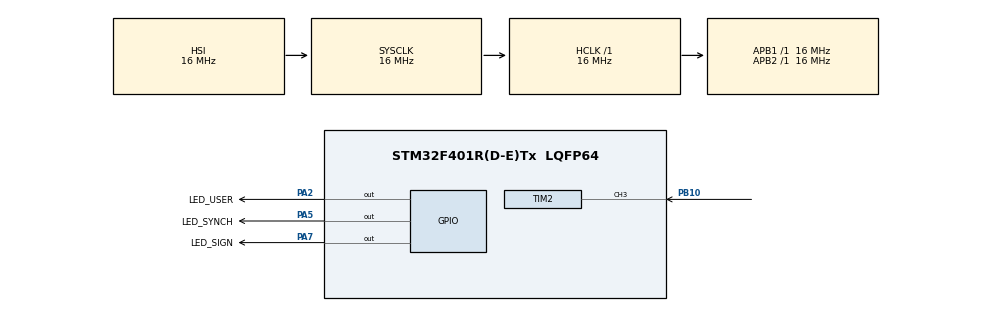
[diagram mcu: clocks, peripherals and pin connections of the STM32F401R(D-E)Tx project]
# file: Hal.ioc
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Mcu.Family=STM32F4
Mcu.Name=STM32F401R(D-E)Tx
Mcu.Package=LQFP64
NVIC.PriorityGroup=NVIC_PRIORITYGROUP_4
NVIC.TIM2_IRQn=true\:0\:0\:false\:false\:true\:true\:true\:true
PA13.Mode=Trace_Asynchronous_SW
PA13.Signal=SYS_JTMS-SWDIO
PA14.Mode=Trace_Asynchronous_SW
PA14.Signal=SYS_JTCK-SWCLK
PA2.GPIO_Label=LED_USER
PA2.Signal=GPIO_Output
PA5.GPIO_Label=LED_SYNCH
PA5.Signal=GPIO_Output
PA7.GPIO_Label=LED_SIGN
PA7.Signal=GPIO_Output
PB10.Signal=S_TIM2_CH3
PB3.Mode=Trace_Asynchronous_SW
PB3.Signal=SYS_JTDO-SWO
ProjectManager.HeapSize=0x200
ProjectManager.StackSize=0x400
ProjectManager.TargetToolchain=STM32CubeIDE
RCC.48MHZClocksFreq_Value=84000000
RCC.AHBFreq_Value=16000000
RCC.APB1Freq_Value=16000000
RCC.APB1TimFreq_Value=16000000
RCC.APB2Freq_Value=16000000
RCC.APB2TimFreq_Value=16000000
RCC.CortexFreq_Value=16000000
RCC.HCLKFreq_Value=16000000
RCC.HSE_VALUE=8000000
RCC.HSI_VALUE=16000000
RCC.LSE_VALUE=32768
RCC.PLLM=4
RCC.PLLN=84
RCC.SYSCLKFreq_VALUE=16000000
RCC.VCOOutputFreq_Value=336000000
SH.S_TIM2_CH3.0=TIM2_CH3,Input_Capture3_from_TI3
TIM2.Channel-Input_Capture3_from_TI3=TIM_CHANNEL_3
TIM2.Prescaler=16-1
TIM3.AutoReloadPreload=TIM_AUTORELOAD_PRELOAD_DISABLE
TIM3.Period=50-1
TIM3.Prescaler=16-1
VP_TIM2_VS_ClockSourceINT.Mode=Internal
VP_TIM3_VS_ClockSourceINT.Mode=Internal
board=custom

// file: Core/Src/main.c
/* USER CODE BEGIN Header */
/**
  ******************************************************************************
  * @file           : main.c
  * @brief          : Main program body
  ******************************************************************************
  * @attention
  *
  * Copyright (c) 2024 STMicroelectronics.
  * All rights reserved.
  *
  * This software is licensed under terms that can be found in the LICENSE file
  * in the root directory of this software component.
  * If no LICENSE file comes with this software, it is provided AS-IS.
  *
  ******************************************************************************
  */
/* USER CODE END Header */
#include "main.h"

TIM_HandleTypeDef htim2;
TIM_HandleTypeDef htim3;

void SystemClock_Config(void);
static void MX_GPIO_Init(void);
static void MX_TIM3_Init(void);
static void MX_TIM2_Init(void);
/* USER CODE BEGIN PFP */
#define TIMCLOCK 	16000000.0f
#define PRESCALER	16.0f
#define REFCLOCK 	(TIMCLOCK/PRESCALER)

uint32_t IC_Val1 = 0;
uint32_t IC_Val2 = 0;
uint32_t Difference = 0;
uint8_t Is_First_Captured= 0;
float frequency = 0.0;

void HAL_TIM_IC_CaptureCallback(TIM_HandleTypeDef *htim)
{
	if(htim -> Channel == HAL_TIM_ACTIVE_CHANNEL_3)
	{

		if(Is_First_Captured == 0)
		{
			HAL_GPIO_WritePin(LED_SYNCH_GPIO_Port, LED_SYNCH_Pin, GPIO_PIN_SET);
			IC_Val1 = TIM2 -> CCR3;//HAL_TIM_ReadCapturedValue(htim, TIM_CHANNEL_3);
			Is_First_Captured = 1;
		}
		else
		{
			HAL_GPIO_WritePin(LED_SYNCH_GPIO_Port, LED_SYNCH_Pin, GPIO_PIN_RESET);
			IC_Val2 = TIM2 -> CCR3;

			if(IC_Val2 > IC_Val1)
			{
				Difference = IC_Val2 - IC_Val1;
			}
			else
			{
				Difference = (TIM2->ARR - IC_Val1) + IC_Val2;
			}

			frequency = (float)((TIMCLOCK/(TIM2->PSC + 1))/Difference);
			//__HAL_TIM_SET_COUNTER(htim, 0);
			TIM2 -> CNT = 0;
			Is_First_Captured = 0;
		}
	}
}

void tim2_ch3_config_ia(void);

void timer2_count_config(void);
void timer2_ch3_input_capture_config(void);
void timer2_count_start(void);
void timer2_ch3_gpio_config(void);
void timer2_ch3_input_capture_start(void);

/* USER CODE END PFP */

int main(void)
{

  /* MCU Configuration--------------------------------------------------------*/

  /* Reset of all peripherals, Initializes the Flash interface and the Systick. */
  HAL_Init();

  /* Configure the system clock */
  SystemClock_Config();

  /* Initialize all configured peripherals */
  MX_GPIO_Init();
  MX_TIM3_Init();
  MX_TIM2_Init();
  /* USER CODE BEGIN 2 */
  TIM3 -> CR1 |= TIM_CR1_CEN;

  //timer2_ch3_gpio_config();
  /*timer2_count_config(); //Configuramos tim2 counter
  timer2_ch3_input_capture_config(); //Configuramos tim2 input capture
  timer2_count_start(); //Comenzamos la cuenta en tim2
  timer2_ch3_input_capture_start();*/
  //tim2_ch3_config_ia();
  HAL_TIM_IC_Start_IT(&htim2, TIM_CHANNEL_3);
  /* USER CODE END 2 */

  /* Infinite loop */
  /* USER CODE BEGIN WHILE */
  while (1)
  {
	if(TIM3->SR & TIM_SR_UIF)
	{
		TIM3->SR &= ~TIM_SR_UIF;
		HAL_GPIO_TogglePin(LED_SIGN_GPIO_Port, LED_SIGN_Pin);
	}
    /* USER CODE END WHILE */

  }
}

void SystemClock_Config(void)
{
  RCC_OscInitTypeDef RCC_OscInitStruct = {0};
  RCC_ClkInitTypeDef RCC_ClkInitStruct = {0};

  /** Configure the main internal regulator output voltage
  */
  __HAL_RCC_PWR_CLK_ENABLE();
  __HAL_PWR_VOLTAGESCALING_CONFIG(PWR_REGULATOR_VOLTAGE_SCALE2);

  /** Initializes the RCC Oscillators according to the specified parameters
  * in the RCC_OscInitTypeDef structure.
  */
  RCC_OscInitStruct.OscillatorType = RCC_OSCILLATORTYPE_HSI;
  RCC_OscInitStruct.HSIState = RCC_HSI_ON;
  RCC_OscInitStruct.HSICalibrationValue = RCC_HSICALIBRATION_DEFAULT;
  RCC_OscInitStruct.PLL.PLLState = RCC_PLL_NONE;
  if (HAL_RCC_OscConfig(&RCC_OscInitStruct) != HAL_OK)
  {
    Error_Handler();
  }

  /** Initializes the CPU, AHB and APB buses clocks
  */
  RCC_ClkInitStruct.ClockType = RCC_CLOCKTYPE_HCLK|RCC_CLOCKTYPE_SYSCLK
                              |RCC_CLOCKTYPE_PCLK1|RCC_CLOCKTYPE_PCLK2;
  RCC_ClkInitStruct.SYSCLKSource = RCC_SYSCLKSOURCE_HSI;
  RCC_ClkInitStruct.AHBCLKDivider = RCC_SYSCLK_DIV1;
  RCC_ClkInitStruct.APB1CLKDivider = RCC_HCLK_DIV1;
  RCC_ClkInitStruct.APB2CLKDivider = RCC_HCLK_DIV1;

  if (HAL_RCC_ClockConfig(&RCC_ClkInitStruct, FLASH_LATENCY_0) != HAL_OK)
  {
    Error_Handler();
  }
}

static void MX_TIM2_Init(void)
{

  TIM_ClockConfigTypeDef sClockSourceConfig = {0};
  TIM_MasterConfigTypeDef sMasterConfig = {0};
  TIM_IC_InitTypeDef sConfigIC = {0};

  htim2.Instance = TIM2;
  htim2.Init.Prescaler = 16-1;
  htim2.Init.CounterMode = TIM_COUNTERMODE_UP;
  htim2.Init.Period = 4294967295;
  htim2.Init.ClockDivision = TIM_CLOCKDIVISION_DIV1;
  htim2.Init.AutoReloadPreload = TIM_AUTORELOAD_PRELOAD_DISABLE;
  if (HAL_TIM_Base_Init(&htim2) != HAL_OK)
  {
    Error_Handler();
  }
  sClockSourceConfig.ClockSource = TIM_CLOCKSOURCE_INTERNAL;
  if (HAL_TIM_ConfigClockSource(&htim2, &sClockSourceConfig) != HAL_OK)
  {
    Error_Handler();
  }
  if (HAL_TIM_IC_Init(&htim2) != HAL_OK)
  {
    Error_Handler();
  }
  sMasterConfig.MasterOutputTrigger = TIM_TRGO_RESET;
  sMasterConfig.MasterSlaveMode = TIM_MASTERSLAVEMODE_DISABLE;
  if (HAL_TIMEx_MasterConfigSynchronization(&htim2, &sMasterConfig) != HAL_OK)
  {
    Error_Handler();
  }
  sConfigIC.ICPolarity = TIM_INPUTCHANNELPOLARITY_RISING;
  sConfigIC.ICSelection = TIM_ICSELECTION_DIRECTTI;
  sConfigIC.ICPrescaler = TIM_ICPSC_DIV1;
  sConfigIC.ICFilter = 0;
  if (HAL_TIM_IC_ConfigChannel(&htim2, &sConfigIC, TIM_CHANNEL_3) != HAL_OK)
  {
    Error_Handler();
  }

}

static void MX_TIM3_Init(void)
{

  TIM_ClockConfigTypeDef sClockSourceConfig = {0};
  TIM_MasterConfigTypeDef sMasterConfig = {0};

  htim3.Instance = TIM3;
  htim3.Init.Prescaler = 16-1;
  htim3.Init.CounterMode = TIM_COUNTERMODE_UP;
  htim3.Init.Period = 50-1;
  htim3.Init.ClockDivision = TIM_CLOCKDIVISION_DIV1;
  htim3.Init.AutoReloadPreload = TIM_AUTORELOAD_PRELOAD_DISABLE;
  if (HAL_TIM_Base_Init(&htim3) != HAL_OK)
  {
    Error_Handler();
  }
  sClockSourceConfig.ClockSource = TIM_CLOCKSOURCE_INTERNAL;
  if (HAL_TIM_ConfigClockSource(&htim3, &sClockSourceConfig) != HAL_OK)
  {
    Error_Handler();
  }
  sMasterConfig.MasterOutputTrigger = TIM_TRGO_RESET;
  sMasterConfig.MasterSlaveMode = TIM_MASTERSLAVEMODE_DISABLE;
  if (HAL_TIMEx_MasterConfigSynchronization(&htim3, &sMasterConfig) != HAL_OK)
  {
    Error_Handler();
  }

}

static void MX_GPIO_Init(void)
{
  GPIO_InitTypeDef GPIO_InitStruct = {0};

  /* GPIO Ports Clock Enable */
  __HAL_RCC_GPIOA_CLK_ENABLE();
  __HAL_RCC_GPIOB_CLK_ENABLE();

  /*Configure GPIO pin Output Level */
  HAL_GPIO_WritePin(GPIOA, LED_USER_Pin|LED_SYNCH_Pin|LED_SIGN_Pin, GPIO_PIN_RESET);

  /*Configure GPIO pins : LED_USER_Pin LED_SYNCH_Pin LED_SIGN_Pin */
  GPIO_InitStruct.Pin = LED_USER_Pin|LED_SYNCH_Pin|LED_SIGN_Pin;
  GPIO_InitStruct.Mode = GPIO_MODE_OUTPUT_PP;
  GPIO_InitStruct.Pull = GPIO_NOPULL;
  GPIO_InitStruct.Speed = GPIO_SPEED_FREQ_LOW;
  HAL_GPIO_Init(GPIOA, &GPIO_InitStruct);

}

/* USER CODE BEGIN 4 */
void tim2_ch3_config_ia(void)
{
    // 1. Habilitar reloj a TIM2
    RCC->APB1ENR |= RCC_APB1ENR_TIM2EN;

    // 2. Detener el contador antes de configurar
    TIM2->CR1 &= ~TIM_CR1_CEN;

    // 3. Configurar prescaler: 16 MHz / 16 = 1 MHz
    TIM2->PSC = 16 - 1;

    // 4. Auto-reload: máximo para contar periodos largos
    TIM2->ARR = 0xFFFFFFFF;

    // 5. Reiniciar contador
    TIM2->CNT = 0;

    // 6. Configurar canal 3 en modo Input Capture
    // CC3S = 01: TI3 input
    TIM2->CCMR2 &= ~TIM_CCMR2_CC3S_Msk;
    TIM2->CCMR2 |= (0b01 << TIM_CCMR2_CC3S_Pos);

    // 7. Prescaler de entrada: ninguno (IC3PSC = 00)
    TIM2->CCMR2 &= ~TIM_CCMR2_IC3PSC_Msk;

    // 8. Filtro digital: opcional, aquí desactivado (IC3F = 0000)
    TIM2->CCMR2 &= ~TIM_CCMR2_IC3F_Msk;

    // 9. Flanco de captura: ascendente (CC3P = 0, CC3NP = 0)
    TIM2->CCER &= ~(TIM_CCER_CC3P | TIM_CCER_CC3NP);

    // 10. Habilitar captura en el canal 3 (CC3E = 1)
    TIM2->CCER |= TIM_CCER_CC3E;

    // 11. Habilitar interrupción para canal 3
    TIM2->DIER |= TIM_DIER_CC3IE;

    // 12. Habilitar interrupción TIM2 en NVIC
    //NVIC_EnableIRQ(TIM2_IRQn);

    // 13. Habilitar el timer
    //TIM2->CR1 |= TIM_CR1_CEN;
}

void timer2_count_config(void)
{
	/*Activamos RCC del TIM2*/
	RCC->APB1ENR |= RCC_APB1ENR_TIM2EN;
	TIM2->CR1 &= ~TIM_CR1_CEN; //Deshabilitamos conteo
	/*Calculo del prescaler*/
	TIM2->PSC = 16-1;
	/*Calculo del auto-reload*/
	TIM2->ARR = 0xFFFFFFFF;
	return;
}
void timer2_ch3_input_capture_config(void)
{
	/*Deshabilitar captura antes de configurar*/
	TIM2 -> CCER &= ~TIM_CCER_CC3E_Msk;
	/*Deshabilitar interrupción*/
	TIM2 -> DIER &= ~TIM_DIER_CC3IE;
	/*Enlazar registro CCR a TI3*/
	TIM2 -> CCMR2 &= ~TIM_CCMR2_CC3S_Msk;
	TIM2 -> CCMR2 |= (0b01<<TIM_CCMR2_CC3S_Pos); //Enlazado al TI3
	/*Programar filtro*/
	TIM2 -> CCMR2 &= ~TIM_CCMR2_IC3F_Msk; //Limpiamos
	//TIM2 -> CCMR2 |= (0b0011<<TIM_CCMR2_IC3F_Pos); //Sampling 8
	/*Flanco de detección*/
	TIM2 -> CCER  &= ~(TIM_CCER_CC3P | TIM_CCER_CC3NP); //rising edge
	/*Prescaler*/
	TIM2 -> CCMR2 &= ~TIM_CCMR2_IC3PSC_Msk; //No prescaler
	return;
}
void timer2_count_start(void)
{
	TIM2->CNT = 0;
	/*Habilitar conteo */
	TIM2 -> CR1 |= TIM_CR1_CEN; //TIM2 conteo EN
	return;
}

void timer2_ch3_gpio_config(void)
{
	/*Pin Config TIM2_CH3 PB10*/
	RCC -> AHB1ENR |= RCC_AHB1ENR_GPIOBEN; //RCC
	/*Mode AF*/
	GPIOB -> MODER &= ~GPIO_MODER_MODE10_Msk; //Modo AF
	GPIOB -> MODER |= GPIO_MODER_MODE10_1;
	/*Pull up down*/
	GPIOB -> PUPDR &= ~GPIO_PUPDR_PUPD10_Msk; //No pull up/down
	/*Alternative*/
	GPIOB -> AFR[1] &= ~GPIO_AFRH_AFSEL10_Msk; 	//Limpiar
	GPIOB -> AFR[1] |= GPIO_AFRH_AFSEL10_0;	//Configurar AF1
	return;
}

void timer2_ch3_input_capture_start(void)
{
	/*Habilitar interrupción*/
	TIM2 -> SR &= ~TIM_SR_CC3IF_Msk;
	TIM2 -> DIER |= TIM_DIER_CC3IE;
	NVIC_EnableIRQ(TIM2_IRQn);
	/*Habilitar captura*/
	TIM2 -> CCER |= TIM_CCER_CC3E; // TIM2_CH3 captura EN
	return;
}
/* USER CODE END 4 */

void Error_Handler(void)
{
  __disable_irq();
  while (1)
  {
  }
}
